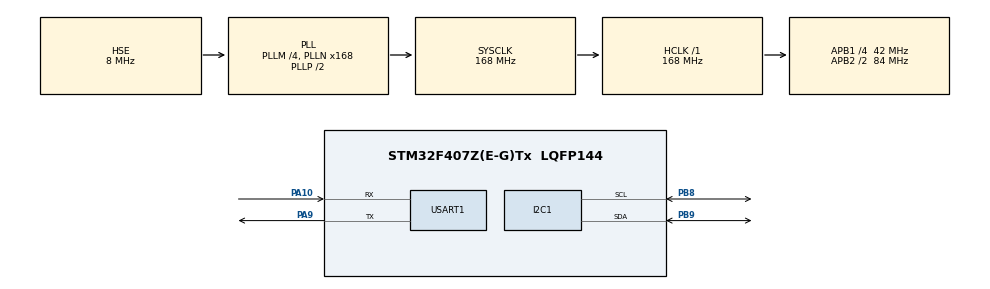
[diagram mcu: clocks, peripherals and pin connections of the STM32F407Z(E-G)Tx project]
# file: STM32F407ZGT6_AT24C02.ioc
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Mcu.Family=STM32F4
Mcu.Name=STM32F407Z(E-G)Tx
Mcu.Package=LQFP144
NVIC.PriorityGroup=NVIC_PRIORITYGROUP_4
PA10.Mode=Asynchronous
PA10.Signal=USART1_RX
PA9.Mode=Asynchronous
PA9.Signal=USART1_TX
PB8.Mode=I2C
PB8.Signal=I2C1_SCL
PB9.Mode=I2C
PB9.Signal=I2C1_SDA
PH0-OSC_IN.Mode=HSE-External-Oscillator
PH0-OSC_IN.Signal=RCC_OSC_IN
PH1-OSC_OUT.Mode=HSE-External-Oscillator
PH1-OSC_OUT.Signal=RCC_OSC_OUT
ProjectManager.HeapSize=0x200
ProjectManager.StackSize=0x400
ProjectManager.TargetToolchain=STM32CubeIDE
RCC.48MHZClocksFreq_Value=84000000
RCC.AHBFreq_Value=168000000
RCC.APB1CLKDivider=RCC_HCLK_DIV4
RCC.APB1Freq_Value=42000000
RCC.APB1TimFreq_Value=84000000
RCC.APB2CLKDivider=RCC_HCLK_DIV2
RCC.APB2Freq_Value=84000000
RCC.APB2TimFreq_Value=168000000
RCC.CortexFreq_Value=168000000
RCC.HCLKFreq_Value=168000000
RCC.HSE_VALUE=8000000
RCC.HSI_VALUE=16000000
RCC.LSE_VALUE=32768
RCC.PLLM=4
RCC.PLLN=168
RCC.PLLSourceVirtual=RCC_PLLSOURCE_HSE
RCC.SYSCLKFreq_VALUE=168000000
RCC.SYSCLKSource=RCC_SYSCLKSOURCE_PLLCLK
RCC.VCOOutputFreq_Value=336000000
USART1.VirtualMode=VM_ASYNC
board=custom

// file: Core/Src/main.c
/* USER CODE BEGIN Header */
/**
  ******************************************************************************
  * @file           : main.c
  * @brief          : Main program body
  ******************************************************************************
  * @attention
  *
  * Copyright (c) 2023 STMicroelectronics.
  * All rights reserved.
  *
  * This software is licensed under terms that can be found in the LICENSE file
  * in the root directory of this software component.
  * If no LICENSE file comes with this software, it is provided AS-IS.
  *
  ******************************************************************************
  */
/* USER CODE END Header */
#include "main.h"
#include "i2c.h"
#include "usart.h"
#include "gpio.h"

/* USER CODE BEGIN Includes */
#include <stdio.h>
/* USER CODE END Includes */

/* USER CODE BEGIN PV */
#include <string.h>

#define ADDR_24LCxx_Write 0xA0
#define ADDR_24LCxx_Read 0xA1
#define BufferSize 256
uint8_t WriteBuffer[BufferSize], ReadBuffer[BufferSize];
uint16_t i;
/* USER CODE END PV */

void SystemClock_Config(void);

int main(void)
{

  /* MCU Configuration--------------------------------------------------------*/

  /* Reset of all peripherals, Initializes the Flash interface and the Systick. */
  HAL_Init();

  /* Configure the system clock */
  SystemClock_Config();

  /* Initialize all configured peripherals */
  MX_GPIO_Init();
  MX_I2C1_Init();
  MX_USART1_UART_Init();
  /* USER CODE BEGIN 2 */
	HAL_Delay(100);
	for (i = 0; i < 256; i++)
		WriteBuffer[i] = i;  /* WriteBuffer init */

	printf("\r\n***************I2C Example Z小旋测试*******************************\r\n");
	for (int j = 0; j < 32; j++) {
		if (HAL_I2C_Mem_Write(&hi2c1, ADDR_24LCxx_Write, 8 * j, I2C_MEMADD_SIZE_8BIT, WriteBuffer + 8 * j, 8, 1000) == HAL_OK) {
			printf("\r\n EEPROM 24C02 Write Test OK \r\n");
			HAL_Delay(20);
		}
		else {
			HAL_Delay(20);
			printf("\r\n EEPROM 24C02 Write Test False \r\n");
		}
	}
	/*
	// wrinte date to EEPROM   如果要一次写�?个字节，�?256次，用这里的代码
	for(i=0;i<BufferSize;i++)
	{
	    HAL_I2C_Mem_Write(&hi2c1, ADDR_24LCxx_Write, i, I2C_MEMADD_SIZE_8BIT,&WriteBuffer[i],1�?0xff);//使用I2C块读，出错�?�因此采用此种方式，逐个单字节写�?
	  HAL_Delay(5);//此处延时必加，与AT24C02写时序有�?
	}
	printf("\r\n EEPROM 24C02 Write Test OK \r\n");
	*/

	HAL_I2C_Mem_Read(&hi2c1, ADDR_24LCxx_Read, 0, I2C_MEMADD_SIZE_8BIT, ReadBuffer, BufferSize, 0xff);

	for (i = 0; i < 256; i++)
		printf("0x%02X  ", ReadBuffer[i]);
  /* USER CODE END 2 */

  /* Infinite loop */
  /* USER CODE BEGIN WHILE */
	while (1) {
		HAL_Delay(1223);
    /* USER CODE END WHILE */

	}
}

void SystemClock_Config(void)
{
  RCC_OscInitTypeDef RCC_OscInitStruct = {0};
  RCC_ClkInitTypeDef RCC_ClkInitStruct = {0};

  /** Configure the main internal regulator output voltage
  */
  __HAL_RCC_PWR_CLK_ENABLE();
  __HAL_PWR_VOLTAGESCALING_CONFIG(PWR_REGULATOR_VOLTAGE_SCALE1);

  /** Initializes the RCC Oscillators according to the specified parameters
  * in the RCC_OscInitTypeDef structure.
  */
  RCC_OscInitStruct.OscillatorType = RCC_OSCILLATORTYPE_HSE;
  RCC_OscInitStruct.HSEState = RCC_HSE_ON;
  RCC_OscInitStruct.PLL.PLLState = RCC_PLL_ON;
  RCC_OscInitStruct.PLL.PLLSource = RCC_PLLSOURCE_HSE;
  RCC_OscInitStruct.PLL.PLLM = 4;
  RCC_OscInitStruct.PLL.PLLN = 168;
  RCC_OscInitStruct.PLL.PLLP = RCC_PLLP_DIV2;
  RCC_OscInitStruct.PLL.PLLQ = 4;
  if (HAL_RCC_OscConfig(&RCC_OscInitStruct) != HAL_OK)
  {
    Error_Handler();
  }

  /** Initializes the CPU, AHB and APB buses clocks
  */
  RCC_ClkInitStruct.ClockType = RCC_CLOCKTYPE_HCLK|RCC_CLOCKTYPE_SYSCLK
                              |RCC_CLOCKTYPE_PCLK1|RCC_CLOCKTYPE_PCLK2;
  RCC_ClkInitStruct.SYSCLKSource = RCC_SYSCLKSOURCE_PLLCLK;
  RCC_ClkInitStruct.AHBCLKDivider = RCC_SYSCLK_DIV1;
  RCC_ClkInitStruct.APB1CLKDivider = RCC_HCLK_DIV4;
  RCC_ClkInitStruct.APB2CLKDivider = RCC_HCLK_DIV2;

  if (HAL_RCC_ClockConfig(&RCC_ClkInitStruct, FLASH_LATENCY_5) != HAL_OK)
  {
    Error_Handler();
  }
}

void Error_Handler(void)
{
	__disable_irq();
	while (1) {
	}
}
